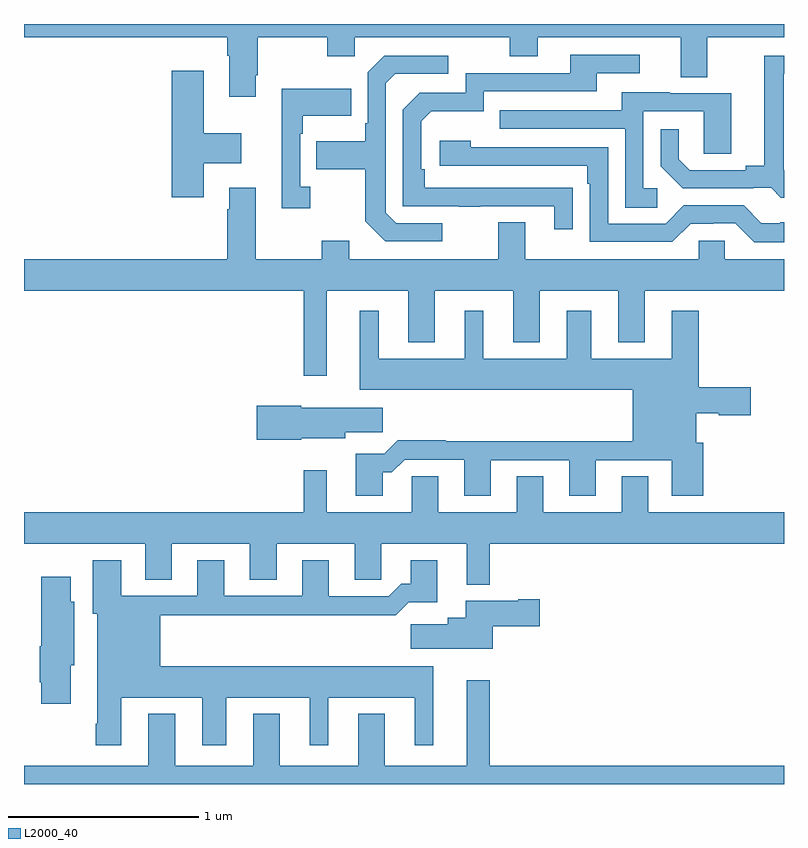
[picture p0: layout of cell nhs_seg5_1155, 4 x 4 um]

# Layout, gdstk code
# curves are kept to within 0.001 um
import gdstk
lib = gdstk.Library(unit=1e-6, precision=1e-09)
def P(c, l, *ps):  # polygons
    for p in ps: c.add(gdstk.Polygon(p, *l))
L2000_40 = (2000, 40)

nhs_seg5_1155 = lib.new_cell('nhs_seg5_1155')
P(nhs_seg5_1155, L2000_40, [(181,888.728),(182.069,888.728),(182.069,888.632),(182.081,888.632),(182.081,888.417),(182.221,888.417),(182.221,888.529),(182.229,888.529),(182.229,888.728),(182.596,888.728),(182.596,888.629),(182.742,888.629),(182.742,888.728),(183.556,888.728),(183.556,888.629),(183.703,888.629),(183.703,888.728),(184.457,888.728),(184.457,888.52),(184.597,888.52),(184.597,888.728),(185,888.728),(185,888.799),(181,888.799)],
  [(183.887,887.936),(183.11,887.937),(183.11,888.034),(183.09,888.034),(183.09,888.288),(183.143,888.341),(183.42,888.341),(183.42,888.444),(184.015,888.444),(184.015,888.54),(184.24,888.54),(184.24,888.636),(183.875,888.636),(183.875,888.54),(183.324,888.54),(183.324,888.438),(183.084,888.438),(182.994,888.348),(182.994,887.841),(183.289,887.841),(183.289,887.836),(183.401,887.836),(183.401,887.841),(183.791,887.841),(183.791,887.718),(183.887,887.718)],
  [(185,888.028),(185,888.633),(184.895,888.633),(184.895,888.053),(184.799,888.053),(184.799,888.03),(184.504,888.03),(184.447,888.087),(184.447,888.244),(184.35,888.244),(184.35,888.05),(184.466,887.934),(184.838,887.934),(184.838,887.937),(184.932,887.937),(184.984,887.885),(185,887.885)],
  [(183.202,887.751),(182.958,887.751),(182.904,887.805),(182.904,888.486),(182.955,888.537),(183.232,888.537),(183.232,888.633),(182.895,888.633),(182.808,888.546),(182.808,888.277),(182.796,888.277),(182.796,888.181),(182.539,888.181),(182.539,888.034),(182.796,888.034),(182.796,887.761),(182.901,887.655),(183.202,887.655)],
  [(181.945,888.065),(182.143,888.065),(182.143,888.223),(181.945,888.223),(181.945,888.553),(181.778,888.553),(181.778,887.886),(181.945,887.886)],
  [(182.506,887.942),(182.454,887.942),(182.454,888.221),(182.467,888.221),(182.467,888.317),(182.723,888.317),(182.723,888.457),(182.357,888.457),(182.357,887.829),(182.506,887.829)],
  [(184.333,887.934),(184.26,887.934),(184.26,888.339),(184.578,888.339),(184.578,888.115),(184.723,888.115),(184.723,888.435),(184.399,888.435),(184.399,888.439),(184.145,888.439),(184.145,888.345),(183.505,888.345),(183.505,888.249),(184.164,888.249),(184.164,887.833),(184.333,887.833)],
  [(185,887.755),(184.981,887.755),(184.981,887.751),(184.881,887.751),(184.788,887.844),(184.473,887.844),(184.377,887.748),(184.074,887.748),(184.074,888.15),(183.35,888.15),(183.35,888.184),(183.189,888.184),(183.189,888.054),(183.965,888.054),(183.965,887.957),(183.978,887.957),(183.978,887.652),(184.413,887.652),(184.509,887.748),(184.628,887.748),(184.628,887.751),(184.743,887.751),(184.843,887.651),(185,887.651)],
  [(182.593,887.396),(183.023,887.396),(183.023,887.123),(183.163,887.123),(183.163,887.396),(183.575,887.396),(183.575,887.123),(183.715,887.123),(183.715,887.396),(184.127,887.396),(184.127,887.123),(184.267,887.123),(184.267,887.396),(185,887.396),(185,887.56),(184.689,887.56),(184.689,887.658),(184.551,887.658),(184.551,887.56),(183.637,887.56),(183.637,887.755),(183.497,887.755),(183.497,887.56),(182.713,887.56),(182.713,887.659),(182.566,887.659),(182.566,887.56),(182.221,887.56),(182.221,887.938),(182.081,887.938),(182.081,887.825),(182.069,887.825),(182.069,887.56),(181,887.56),(181,887.396),(182.472,887.396),(182.472,886.947),(182.593,886.947)],
  [(182.887,886.439),(182.936,886.439),(183.003,886.506),(183.317,886.506),(183.317,886.317),(183.457,886.317),(183.457,886.503),(183.869,886.503),(183.869,886.317),(184.009,886.317),(184.009,886.503),(184.409,886.503),(184.409,886.317),(184.574,886.317),(184.574,886.596),(184.537,886.596),(184.537,886.751),(184.657,886.751),(184.657,886.739),(184.825,886.739),(184.825,886.886),(184.55,886.886),(184.55,887.29),(184.409,887.29),(184.409,887.038),(183.985,887.038),(183.985,887.29),(183.857,887.29),(183.857,887.038),(183.418,887.038),(183.418,887.29),(183.32,887.29),(183.32,887.038),(182.866,887.038),(182.866,887.29),(182.768,887.29),(182.768,886.874),(184.205,886.874),(184.205,886.604),(183.221,886.604),(183.221,886.607),(182.966,886.607),(182.896,886.537),(182.747,886.537),(182.747,886.317),(182.887,886.317)],
  [(182.46,886.619),(182.692,886.619),(182.692,886.651),(182.887,886.651),(182.887,886.78),(182.46,886.78),(182.46,886.79),(182.226,886.79),(182.226,886.612),(182.46,886.612)],
  [(183.451,886.064),(185,886.064),(185,886.228),(184.285,886.228),(184.285,886.418),(184.145,886.418),(184.145,886.228),(183.733,886.228),(183.733,886.418),(183.593,886.418),(183.593,886.228),(183.181,886.228),(183.181,886.418),(183.042,886.418),(183.042,886.228),(182.593,886.228),(182.593,886.45),(182.472,886.45),(182.472,886.228),(181,886.228),(181,886.064),(181.637,886.064),(181.637,885.874),(181.777,885.874),(181.777,886.064),(182.189,886.064),(182.189,885.874),(182.329,885.874),(182.329,886.064),(182.741,886.064),(182.741,885.874),(182.88,885.874),(182.88,886.064),(183.329,886.064),(183.329,885.848),(183.451,885.848)],
  [(181.513,885.254),(181.937,885.254),(181.937,885.003),(182.065,885.003),(182.065,885.254),(182.504,885.254),(182.504,885.003),(182.602,885.003),(182.602,885.254),(183.056,885.254),(183.056,885.003),(183.154,885.003),(183.154,885.418),(181.717,885.418),(181.717,885.688),(182.701,885.688),(182.701,885.686),(182.957,885.686),(183.026,885.755),(183.175,885.755),(183.175,885.976),(183.035,885.976),(183.035,885.853),(182.986,885.853),(182.919,885.786),(182.605,885.786),(182.605,885.976),(182.465,885.976),(182.465,885.789),(182.053,885.789),(182.053,885.976),(181.913,885.976),(181.913,885.789),(181.513,885.789),(181.513,885.976),(181.361,885.976),(181.361,885.696),(181.385,885.696),(181.385,885.115),(181.378,885.115),(181.378,885.003),(181.513,885.003)],
  [(181.246,885.423),(181.264,885.423),(181.264,885.759),(181.246,885.759),(181.246,885.889),(181.091,885.889),(181.091,885.523),(181.084,885.523),(181.084,885.334),(181.091,885.334),(181.091,885.222),(181.246,885.222)],
  [(183.466,885.629),(183.715,885.629),(183.715,885.771),(183.602,885.771),(183.602,885.763),(183.326,885.763),(183.326,885.673),(183.23,885.673),(183.23,885.641),(183.036,885.641),(183.036,885.512),(183.466,885.512)],
  [(183.451,885.346),(183.329,885.346),(183.329,884.896),(182.899,884.896),(182.899,885.169),(182.759,885.169),(182.759,884.896),(182.347,884.896),(182.347,885.169),(182.207,885.169),(182.207,884.896),(181.795,884.896),(181.795,885.169),(181.655,885.169),(181.655,884.896),(181,884.896),(181,884.799),(185,884.799),(185,884.896),(183.451,884.896)])

lib.write_gds('nhs_seg5_1155.gds')
